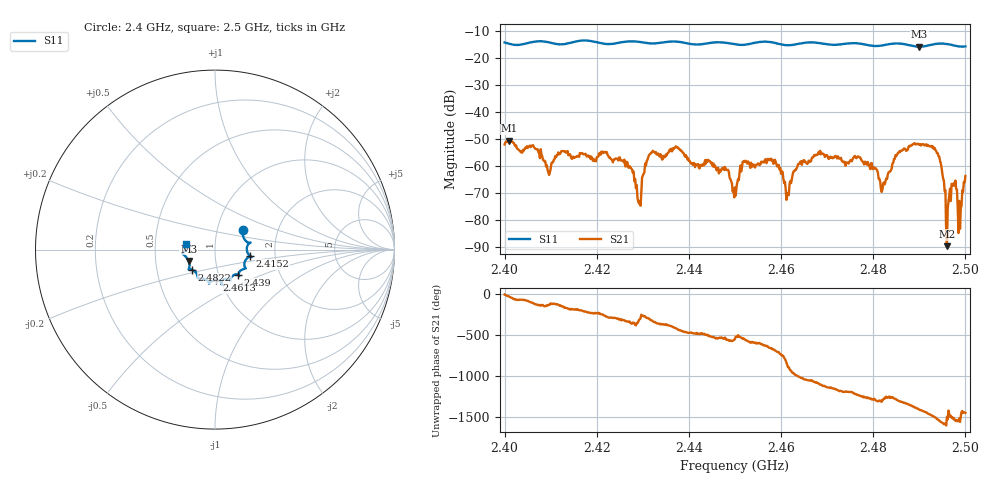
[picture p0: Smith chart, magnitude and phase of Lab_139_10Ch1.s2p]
# Hz S RI R 50
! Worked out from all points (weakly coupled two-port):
!   601 points, 2.4 GHz to 2.5 GHz, reference 50 ohm
!   highest |S21| = -50.68 dB at 2.401 GHz (marker M1); lowest = -89.7 dB at 2.496 GHz (marker M2)
!   lowest |S11| = -15.9 dB at 2.49 GHz (marker M3), VSWR 1.38, Z = 36.9 - j4.84 ohm
!   |S11| at or under -10 dB: start of sweep to end of sweep
!   S12 and S22 are empty: the file has one direction only
!   S11 on the Smith chart (normalised r, x): 2.4 GHz: 1.33, +0.31; 2.4152 GHz: 1.48, -0.11; 2.439 GHz: 1.24, -0.36; 2.4613 GHz: 0.96, -0.34; 2.4822 GHz: 0.76, -0.17; 2.5 GHz: 0.72, +0.05
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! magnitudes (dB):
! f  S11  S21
! 2.4 GHz  -14.3  -52.1
! 2.401 GHz  -14.8  -50.7
! 2.4152 GHz  -14.1  -57.1
! 2.4167 GHz  -13.6  -55.4
! 2.4255 GHz  -14.2  -58.0
! 2.4292 GHz  -14.1  -74.0
! 2.431 GHz  -14.6  -57.7
! 2.4333 GHz  -14.5  -55.4
! 2.439 GHz  -14.4  -56.1
! 2.45 GHz  -15.0  -67.9
! 2.452 GHz  -15.2  -58.1
! 2.4577 GHz  -14.2  -57.9
! 2.4613 GHz  -15.4  -70.4
! 2.4667 GHz  -14.3  -57.1
! 2.4822 GHz  -15.4  -66.5
! 2.4833 GHz  -15.0  -62.5
! 2.49 GHz  -15.9  -52.2
! 2.4938 GHz  -14.8  -55.3
! 2.496 GHz  -14.9  -89.7
! 2.4975 GHz  -15.4  -66.4
! 2.4988 GHz  -15.8  -83.3
! 2.5 GHz  -15.8  -63.7
